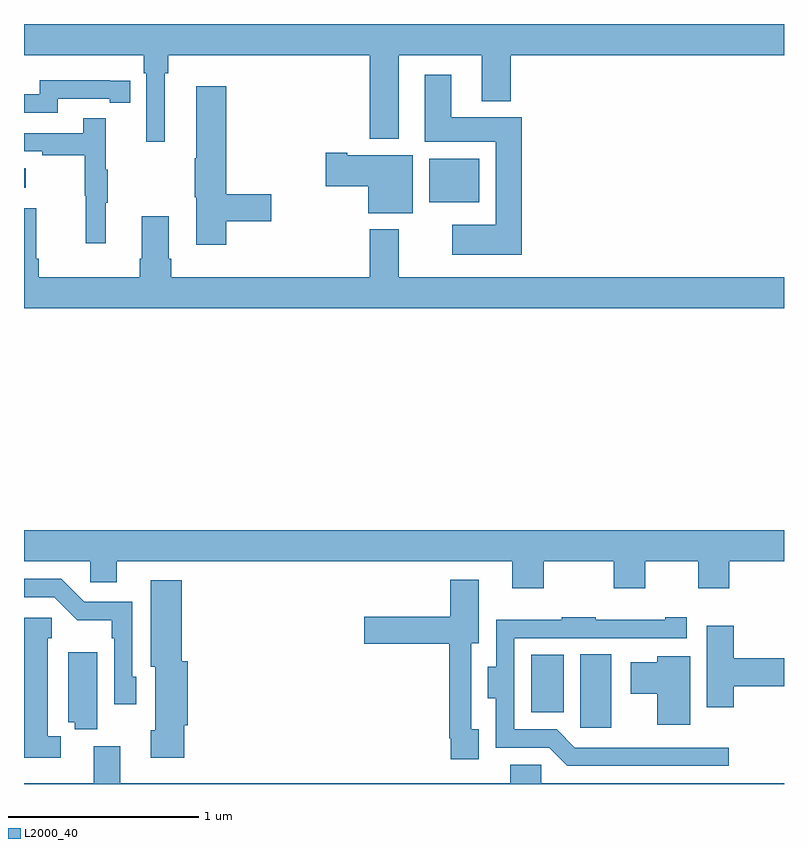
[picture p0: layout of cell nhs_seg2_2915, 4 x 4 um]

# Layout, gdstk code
import gdstk
lib = gdstk.Library(unit=1e-6, precision=1e-09)
def R(c, l, rs):  # rectangles x0, y0, x1, y1
    for r in rs: c.add(gdstk.rectangle(r[:2], r[2:], *l))
def P(c, l, *ps):  # polygons
    for p in ps: c.add(gdstk.Polygon(p, *l))
L2000_40 = (2000, 40)

nhs_seg2_2915 = lib.new_cell('nhs_seg2_2915')
R(nhs_seg2_2915, L2000_40, [(265.928,644.097,266.092,644.483), (265.67,644.177,265.84,644.479), (265.133,646.862,265.396,647.092), (263,646.937,263.008,647.041)])
P(nhs_seg2_2915, L2000_40, [(263.74,647.54),(263.759,647.54),(263.759,647.636),(264.821,647.636),(264.821,647.195),(264.973,647.195),(264.973,647.636),(265.409,647.636),(265.409,647.393),(265.562,647.393),(265.562,647.636),(267,647.636),(267,647.8),(263,647.8),(263,647.636),(263.63,647.636),(263.63,647.54),(263.643,647.54),(263.643,647.181),(263.74,647.181)],
  [(265.619,647.308),(265.249,647.308),(265.249,647.533),(265.109,647.533),(265.109,647.18),(265.484,647.18),(265.484,646.744),(265.254,646.744),(265.254,646.586),(265.619,646.586)],
  [(263.178,647.406),(263.45,647.406),(263.45,647.386),(263.558,647.386),(263.558,647.502),(263.45,647.502),(263.45,647.503),(263.082,647.503),(263.082,647.43),(263,647.43),(263,647.334),(263.178,647.334)],
  [(264.065,646.762),(264.301,646.762),(264.301,646.904),(264.065,646.904),(264.065,647.473),(263.906,647.473),(263.906,647.093),(263.899,647.093),(263.899,646.887),(263.906,646.887),(263.906,646.638),(264.065,646.638)],
  [(263.429,646.859),(263.44,646.859),(263.44,647.033),(263.429,647.033),(263.429,647.305),(263.311,647.305),(263.311,647.226),(263,647.226),(263,647.13),(263.095,647.13),(263.095,647.11),(263.319,647.11),(263.319,646.896),(263.326,646.896),(263.326,646.647),(263.429,646.647)],
  [(265.045,647.11),(264.7,647.11),(264.7,647.123),(264.588,647.123),(264.588,646.945),(264.812,646.945),(264.812,646.805),(265.045,646.805)],
  [(267,646.468),(264.973,646.468),(264.973,646.72),(264.821,646.72),(264.821,646.468),(263.774,646.468),(263.774,646.564),(263.761,646.564),(263.761,646.789),(263.621,646.789),(263.621,646.564),(263.609,646.564),(263.609,646.468),(263.078,646.468),(263.078,646.564),(263.065,646.564),(263.065,646.831),(263,646.831),(263,646.304),(267,646.304)],
  [(265.735,644.972),(266.105,644.972),(266.105,644.829),(266.269,644.829),(266.269,644.972),(266.549,644.972),(266.549,644.829),(266.713,644.829),(266.713,644.972),(267,644.972),(267,645.136),(263,645.136),(263,644.972),(263.349,644.972),(263.349,644.862),(263.488,644.862),(263.488,644.972),(265.571,644.972),(265.571,644.829),(265.735,644.829)],
  [(263.592,644.364),(263.571,644.364),(263.571,644.76),(263.316,644.76),(263.196,644.88),(263,644.88),(263,644.784),(263.16,644.784),(263.281,644.663),(263.463,644.663),(263.463,644.567),(263.475,644.567),(263.475,644.22),(263.592,644.22)],
  [(265.393,644.089),(265.353,644.089),(265.353,644.54),(265.393,644.54),(265.393,644.875),(265.244,644.875),(265.244,644.679),(264.792,644.679),(264.792,644.537),(265.237,644.537),(265.237,644.041),(265.245,644.041),(265.245,643.929),(265.393,643.929)],
  [(263.843,644.109),(263.861,644.109),(263.861,644.445),(263.83,644.445),(263.83,644.872),(263.666,644.872),(263.666,644.418),(263.69,644.418),(263.69,644.082),(263.666,644.082),(263.666,643.938),(263.843,643.938)],
  [(266.71,643.992),(265.899,643.992),(265.803,644.088),(265.581,644.088),(265.581,644.568),(266.488,644.568),(266.488,644.677),(266.375,644.677),(266.375,644.665),(266.009,644.665),(266.009,644.677),(265.831,644.677),(265.831,644.665),(265.485,644.665),(265.485,644.416),(265.442,644.416),(265.442,644.252),(265.484,644.252),(265.484,643.992),(265.764,643.992),(265.86,643.896),(266.71,643.896)],
  [(263.194,644.052),(263.125,644.052),(263.125,644.568),(263.147,644.568),(263.147,644.674),(263,644.674),(263,643.937),(263.194,643.937)],
  [(266.735,644.315),(267,644.315),(267,644.462),(266.735,644.462),(266.735,644.632),(266.594,644.632),(266.594,644.205),(266.735,644.205)],
  [(263.386,644.494),(263.234,644.494),(263.234,644.126),(263.266,644.126),(263.266,644.089),(263.386,644.089)],
  [(266.506,644.473),(266.333,644.473),(266.333,644.44),(266.193,644.44),(266.193,644.276),(266.333,644.276),(266.333,644.111),(266.506,644.111)],
  [(267,643.804),(265.722,643.804),(265.722,643.902),(265.559,643.902),(265.559,643.804),(263.506,643.804),(263.506,643.999),(263.366,643.999),(263.366,643.804),(263,643.804),(263,643.8),(267,643.8)])

lib.write_gds('nhs_seg2_2915.gds')
